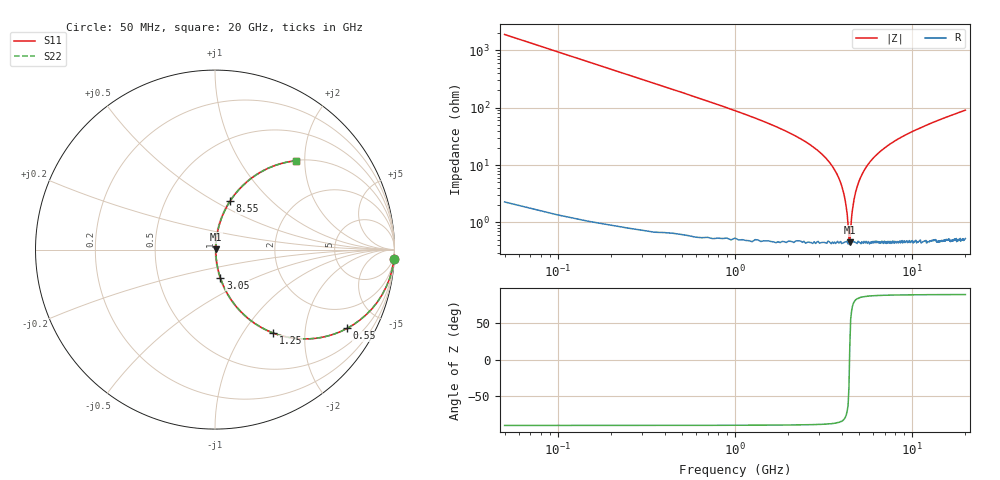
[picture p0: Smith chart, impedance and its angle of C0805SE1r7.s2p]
! AVX Thin Film Operation		Date: April 2012
! Description: Accu-P® Series, Thin Film, SMD, RF Capacitor
! Part Number: 08051J1R7PBTTR
!	100	MHz	-	20.05	GHz
!	Serial	Measurements
#	MHZ	S	MA	R	50
!	S11	S21	S12	S22
!	dB	Phase	dB	Phase	dB	Phase	dB	Phase
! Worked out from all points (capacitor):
!   400 points, 50 MHz to 20 GHz, reference 50 ohm
!   read as one part in series: C = 1.7 pF near 150 MHz
!   lowest |Z| = 449 mohm at 4.45 GHz (marker M1)
!   series resonance near 4.435 GHz, so ESL is about 760 pH
!   S11 on the Smith chart (normalised r, x): 50 MHz: 1, -37; 550 MHz: 1.01, -3.35; 1.25 GHz: 1.01, -1.38; 3.05 GHz: 1.01, -0.32; 8.55 GHz: 1.01, +0.60; 20 GHz: 1.01, +1.81
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50  0.999 -3.1  0.053 86.9  0.053 86.9  0.999 -3.1
100  0.994 -6.1  0.106 83.8  0.106 83.8  0.994 -6.1
200  0.977 -12.1  0.209 77.8  0.209 77.8  0.977 -12.1
550  0.857 -30.8  0.512 59.0  0.512 59.0  0.857 -30.8
1250  0.566 -55.1  0.821 34.5  0.821 34.5  0.566 -55.1
2000  0.348 -68.9  0.933 20.4  0.933 20.4  0.348 -68.9
3050  0.159 -79.3  0.983 9.1  0.983 9.1  0.159 -79.3
3400  0.112 -81.3  0.989 6.4  0.989 6.4  0.112 -81.3
4100  0.033 -80.4  0.995 1.9  0.995 1.9  0.033 -80.4
4300  0.014 -70.3  0.995 0.7  0.995 0.7  0.014 -70.3
4400  0.005551 -36.3  0.996 0.2  0.996 0.2  0.005551 -36.3
4450  0.004692 17.9  0.996 -0.1  0.996 -0.1  0.004692 17.9
4550  0.012 66.9  0.995 -0.6  0.995 -0.6  0.012 66.9
4700  0.025 78.2  0.995 -1.4  0.995 -1.4  0.025 78.2
5000  0.051 82.1  0.994 -2.9  0.994 -2.9  0.051 82.1
5600  0.099 81.8  0.991 -5.7  0.991 -5.7  0.099 81.8
6700  0.176 78.4  0.98 -10.1  0.98 -10.1  0.176 78.4
8550  0.284 72.6  0.954 -16.5  0.954 -16.5  0.284 72.6
10050  0.358 68.3  0.929 -21.0  0.929 -21.0  0.358 68.3
13350  0.49 60.1  0.867 -29.4  0.867 -29.4  0.49 60.1
16700  0.592 53.3  0.802 -36.3  0.802 -36.3  0.592 53.3
20000  0.669 47.7  0.739 -42.0  0.739 -42.0  0.669 47.7
